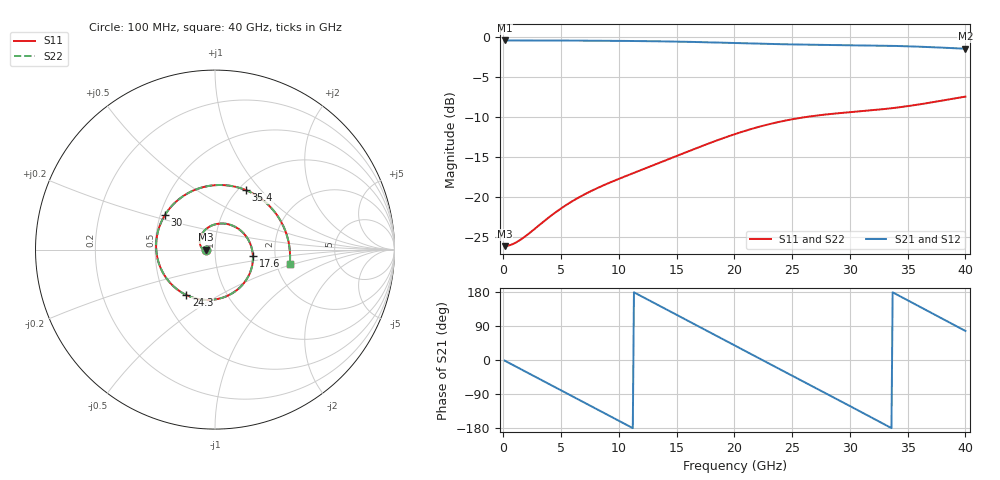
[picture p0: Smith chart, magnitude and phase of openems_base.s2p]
! P_ts6_pad: 0402 capacitor pad (0.56 × 0.62 mm) on a 50 Ω microstrip, plane intact
! stackup: ThunderScope Rev5.3 6-layer (FR408HR / FR-4, from the board file)
! ports: 1, 2
! openEMS 0.37.0, staircase, base mesh (dfine 0.035 mm), 459984 cells
# Hz S RI R 50
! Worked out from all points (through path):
!   400 points, 100 MHz to 40 GHz, reference 50 ohm
!   highest |S21| = -0.44 dB at 100 MHz (marker M1); lowest = -1.5 dB at 40 GHz (marker M2)
!   group delay of S21, straight-line fit = 44.6 ps
!   lowest |S11| = -26.1 dB at 100 MHz (marker M3), VSWR 1.10, Z = 45.3 - j0.0264 ohm
!   |S11| at or under -10 dB: start of sweep to 26.18 GHz
!   |S22| runs from -26.1 to -7.5 dB; largest |S21 - S12| = 0
!   S11 on the Smith chart (normalised r, x): 100 MHz: 0.91, -0.00; 17.6 GHz: 1.53, -0.11; 24.3 GHz: 0.65, -0.36; 30 GHz: 0.53, +0.23; 35.4 GHz: 1.08, +0.83; 40 GHz: 2.37, -0.45
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1e8  -0.0494 -0.000291  0.9501 -0.0266  0.9501 -0.0266  -0.0494 -0.000291
1.9e9  -0.0569 -0.00261  0.8189 -0.4818  0.8189 -0.4818  -0.0569 -0.00261
3.8e9  -0.0731 0.00799  0.4613 -0.83  0.4613 -0.83  -0.0731 0.00799
5.3e9  -0.0831 0.029  0.0828 -0.9453  0.0828 -0.9453  -0.0831 0.029
6.8e9  -0.0835 0.0588  -0.3097 -0.8959  -0.3097 -0.8959  -0.0835 0.0588
8.7e9  -0.0633 0.1006  -0.7205 -0.6135  -0.7205 -0.6135  -0.0633 0.1006
1.03e10  -0.0266 0.13  -0.9136 -0.2395  -0.9136 -0.2395  -0.0266 0.13
1.18e10  0.0228 0.1447  -0.9294 0.1547  -0.9294 0.1547  0.0228 0.1447
1.34e10  0.0866 0.1376  -0.7671 0.5416  -0.7671 0.5416  0.0866 0.1376
1.56e10  0.1721 0.0755  -0.3089 0.8805  -0.3089 0.8805  0.1721 0.0755
1.76e10  0.2112 -0.0338  0.2063 0.9028  0.2063 0.9028  0.2112 -0.0338
2.01e10  0.155 -0.1938  0.7315 0.5509  0.7315 0.5509  0.155 -0.1938
2.22e10  0.0141 -0.2753  0.9055 0.0534  0.9055 0.0534  0.0141 -0.2753
2.43e10  -0.1605 -0.2528  0.778 -0.452  0.778 -0.452  -0.1605 -0.2528
2.67e10  -0.3042 -0.0995  0.3276 -0.8316  0.3276 -0.8316  -0.3042 -0.0995
2.83e10  -0.3273 0.0436  -0.0643 -0.8886  -0.0643 -0.8886  -0.3273 0.0436
3e10  -0.2797 0.1912  -0.464 -0.7575  -0.464 -0.7575  -0.2797 0.1912
3.18e10  -0.1622 0.3077  -0.7707 -0.4346  -0.7707 -0.4346  -0.1622 0.3077
3.34e10  -0.0203 0.3568  -0.8787 -0.0534  -0.8787 -0.0534  -0.0203 0.3568
3.54e10  0.1726 0.3311  -0.7628 0.4228  -0.7628 0.4228  0.1726 0.3311
3.78e10  0.3617 0.167  -0.3233 0.7953  -0.3233 0.7953  0.3617 0.167
4e10  0.4168 -0.0785  0.1939 0.8214  0.1939 0.8214  0.4168 -0.0785
